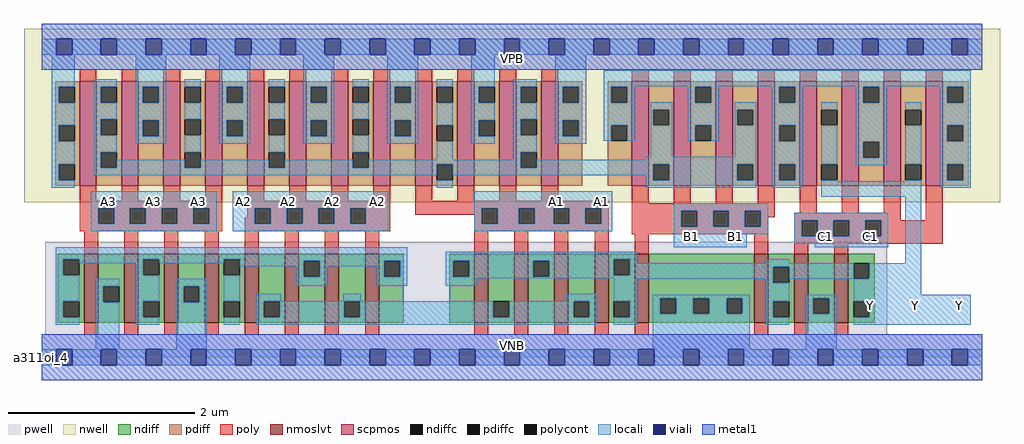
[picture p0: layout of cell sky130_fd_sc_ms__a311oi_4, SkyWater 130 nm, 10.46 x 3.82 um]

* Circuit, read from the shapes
.subckt sky130_fd_sc_ms__a311oi_4 A1 A2 A3 B1 C1 VGND VNB VPB VPWR Y
XM1 VGND A3 n1 VNB sky130_fd_pr__nfet_01v8_lvt w=0.74 l=0.15 m=4
XM2 n2 A2 n1 VNB sky130_fd_pr__nfet_01v8_lvt w=0.74 l=0.15 m=4
XM3 n2 A1 Y VNB sky130_fd_pr__nfet_01v8_lvt w=0.74 l=0.15 m=4
XM4 VGND B1 Y VNB sky130_fd_pr__nfet_01v8_lvt w=0.74 l=0.15 m=2
XM5 VGND C1 Y VNB sky130_fd_pr__nfet_01v8_lvt w=0.74 l=0.15 m=2
XM6 n3 A3 VPWR VPB sky130_fd_pr__pfet_01v8 w=1.12 l=0.18 m=4
XM7 n3 A2 VPWR VPB sky130_fd_pr__pfet_01v8 w=1.12 l=0.18 m=4
XM8 n3 A1 VPWR VPB sky130_fd_pr__pfet_01v8 w=1.12 l=0.18 m=4
XM9 n3 B1 n4 VPB sky130_fd_pr__pfet_01v8 w=1.12 l=0.18 m=4
XM10 Y C1 n4 VPB sky130_fd_pr__pfet_01v8 w=1.12 l=0.18 m=4
.ends

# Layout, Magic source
magic
tech sky130A
magscale 1 2
<< nwell >>
rect -38 332 2054 704
<< pwell >>
rect 8 49 1812 248
rect 0 0 2016 49
<< scpmos >>
rect 81 368 117 592
rect 171 368 207 592
rect 261 368 297 592
rect 351 368 387 592
rect 441 368 477 592
rect 531 368 567 592
rect 621 368 657 592
rect 711 368 747 592
rect 801 368 837 592
rect 891 368 927 592
rect 981 368 1017 592
rect 1071 368 1107 592
rect 1265 368 1301 592
rect 1355 368 1391 592
rect 1445 368 1481 592
rect 1535 368 1571 592
rect 1625 368 1661 592
rect 1715 368 1751 592
rect 1805 368 1841 592
rect 1895 368 1931 592
<< nmoslvt >>
rect 91 74 121 222
rect 177 74 207 222
rect 263 74 293 222
rect 349 74 379 222
rect 435 74 465 222
rect 521 74 551 222
rect 607 74 637 222
rect 693 74 723 222
rect 927 74 957 222
rect 1013 74 1043 222
rect 1099 74 1129 222
rect 1185 74 1215 222
rect 1271 74 1301 222
rect 1527 74 1557 222
rect 1613 74 1643 222
rect 1699 74 1729 222
<< ndiff >>
rect 34 210 91 222
rect 34 176 46 210
rect 80 176 91 210
rect 34 120 91 176
rect 34 86 46 120
rect 80 86 91 120
rect 34 74 91 86
rect 121 152 177 222
rect 121 118 132 152
rect 166 118 177 152
rect 121 74 177 118
rect 207 210 263 222
rect 207 176 218 210
rect 252 176 263 210
rect 207 120 263 176
rect 207 86 218 120
rect 252 86 263 120
rect 207 74 263 86
rect 293 152 349 222
rect 293 118 304 152
rect 338 118 349 152
rect 293 74 349 118
rect 379 210 435 222
rect 379 176 390 210
rect 424 176 435 210
rect 379 120 435 176
rect 379 86 390 120
rect 424 86 435 120
rect 379 74 435 86
rect 465 120 521 222
rect 465 86 476 120
rect 510 86 521 120
rect 465 74 521 86
rect 551 207 607 222
rect 551 173 562 207
rect 596 173 607 207
rect 551 74 607 173
rect 637 120 693 222
rect 637 86 648 120
rect 682 86 693 120
rect 637 74 693 86
rect 723 207 776 222
rect 723 173 734 207
rect 768 173 776 207
rect 723 74 776 173
rect 874 207 927 222
rect 874 173 882 207
rect 916 173 927 207
rect 874 74 927 173
rect 957 120 1013 222
rect 957 86 968 120
rect 1002 86 1013 120
rect 957 74 1013 86
rect 1043 207 1099 222
rect 1043 173 1054 207
rect 1088 173 1099 207
rect 1043 74 1099 173
rect 1129 120 1185 222
rect 1129 86 1140 120
rect 1174 86 1185 120
rect 1129 74 1185 86
rect 1215 210 1271 222
rect 1215 176 1226 210
rect 1260 176 1271 210
rect 1215 120 1271 176
rect 1215 86 1226 120
rect 1260 86 1271 120
rect 1215 74 1271 86
rect 1301 127 1527 222
rect 1301 93 1326 127
rect 1360 93 1397 127
rect 1431 93 1468 127
rect 1502 93 1527 127
rect 1301 74 1527 93
rect 1557 194 1613 222
rect 1557 160 1568 194
rect 1602 160 1613 194
rect 1557 120 1613 160
rect 1557 86 1568 120
rect 1602 86 1613 120
rect 1557 74 1613 86
rect 1643 127 1699 222
rect 1643 93 1654 127
rect 1688 93 1699 127
rect 1643 74 1699 93
rect 1729 202 1786 222
rect 1729 168 1740 202
rect 1774 168 1786 202
rect 1729 120 1786 168
rect 1729 86 1740 120
rect 1774 86 1786 120
rect 1729 74 1786 86
<< pdiff >>
rect 29 580 81 592
rect 29 546 37 580
rect 71 546 81 580
rect 29 497 81 546
rect 29 463 37 497
rect 71 463 81 497
rect 29 414 81 463
rect 29 380 37 414
rect 71 380 81 414
rect 29 368 81 380
rect 117 580 171 592
rect 117 546 127 580
rect 161 546 171 580
rect 117 510 171 546
rect 117 476 127 510
rect 161 476 171 510
rect 117 440 171 476
rect 117 406 127 440
rect 161 406 171 440
rect 117 368 171 406
rect 207 580 261 592
rect 207 546 217 580
rect 251 546 261 580
rect 207 508 261 546
rect 207 474 217 508
rect 251 474 261 508
rect 207 368 261 474
rect 297 580 351 592
rect 297 546 307 580
rect 341 546 351 580
rect 297 510 351 546
rect 297 476 307 510
rect 341 476 351 510
rect 297 440 351 476
rect 297 406 307 440
rect 341 406 351 440
rect 297 368 351 406
rect 387 580 441 592
rect 387 546 397 580
rect 431 546 441 580
rect 387 508 441 546
rect 387 474 397 508
rect 431 474 441 508
rect 387 368 441 474
rect 477 580 531 592
rect 477 546 487 580
rect 521 546 531 580
rect 477 510 531 546
rect 477 476 487 510
rect 521 476 531 510
rect 477 440 531 476
rect 477 406 487 440
rect 521 406 531 440
rect 477 368 531 406
rect 567 580 621 592
rect 567 546 577 580
rect 611 546 621 580
rect 567 508 621 546
rect 567 474 577 508
rect 611 474 621 508
rect 567 368 621 474
rect 657 580 711 592
rect 657 546 667 580
rect 701 546 711 580
rect 657 510 711 546
rect 657 476 667 510
rect 701 476 711 510
rect 657 440 711 476
rect 657 406 667 440
rect 701 406 711 440
rect 657 368 711 406
rect 747 580 801 592
rect 747 546 757 580
rect 791 546 801 580
rect 747 508 801 546
rect 747 474 757 508
rect 791 474 801 508
rect 747 368 801 474
rect 837 580 891 592
rect 837 546 847 580
rect 881 546 891 580
rect 837 497 891 546
rect 837 463 847 497
rect 881 463 891 497
rect 837 414 891 463
rect 837 380 847 414
rect 881 380 891 414
rect 837 368 891 380
rect 927 580 981 592
rect 927 546 937 580
rect 971 546 981 580
rect 927 508 981 546
rect 927 474 937 508
rect 971 474 981 508
rect 927 368 981 474
rect 1017 580 1071 592
rect 1017 546 1027 580
rect 1061 546 1071 580
rect 1017 510 1071 546
rect 1017 476 1027 510
rect 1061 476 1071 510
rect 1017 440 1071 476
rect 1017 406 1027 440
rect 1061 406 1071 440
rect 1017 368 1071 406
rect 1107 580 1159 592
rect 1107 546 1117 580
rect 1151 546 1159 580
rect 1107 508 1159 546
rect 1107 474 1117 508
rect 1151 474 1159 508
rect 1107 368 1159 474
rect 1213 580 1265 592
rect 1213 546 1221 580
rect 1255 546 1265 580
rect 1213 498 1265 546
rect 1213 464 1221 498
rect 1255 464 1265 498
rect 1213 368 1265 464
rect 1301 531 1355 592
rect 1301 497 1311 531
rect 1345 497 1355 531
rect 1301 414 1355 497
rect 1301 380 1311 414
rect 1345 380 1355 414
rect 1301 368 1355 380
rect 1391 580 1445 592
rect 1391 546 1401 580
rect 1435 546 1445 580
rect 1391 498 1445 546
rect 1391 464 1401 498
rect 1435 464 1445 498
rect 1391 368 1445 464
rect 1481 531 1535 592
rect 1481 497 1491 531
rect 1525 497 1535 531
rect 1481 414 1535 497
rect 1481 380 1491 414
rect 1525 380 1535 414
rect 1481 368 1535 380
rect 1571 580 1625 592
rect 1571 546 1581 580
rect 1615 546 1625 580
rect 1571 497 1625 546
rect 1571 463 1581 497
rect 1615 463 1625 497
rect 1571 414 1625 463
rect 1571 380 1581 414
rect 1615 380 1625 414
rect 1571 368 1625 380
rect 1661 531 1715 592
rect 1661 497 1671 531
rect 1705 497 1715 531
rect 1661 414 1715 497
rect 1661 380 1671 414
rect 1705 380 1715 414
rect 1661 368 1715 380
rect 1751 580 1805 592
rect 1751 546 1761 580
rect 1795 546 1805 580
rect 1751 462 1805 546
rect 1751 428 1761 462
rect 1795 428 1805 462
rect 1751 368 1805 428
rect 1841 531 1895 592
rect 1841 497 1851 531
rect 1885 497 1895 531
rect 1841 414 1895 497
rect 1841 380 1851 414
rect 1885 380 1895 414
rect 1841 368 1895 380
rect 1931 580 1987 592
rect 1931 546 1941 580
rect 1975 546 1987 580
rect 1931 497 1987 546
rect 1931 463 1941 497
rect 1975 463 1987 497
rect 1931 414 1987 463
rect 1931 380 1941 414
rect 1975 380 1987 414
rect 1931 368 1987 380
<< ndiffc >>
rect 46 176 80 210
rect 46 86 80 120
rect 132 118 166 152
rect 218 176 252 210
rect 218 86 252 120
rect 304 118 338 152
rect 390 176 424 210
rect 390 86 424 120
rect 476 86 510 120
rect 562 173 596 207
rect 648 86 682 120
rect 734 173 768 207
rect 882 173 916 207
rect 968 86 1002 120
rect 1054 173 1088 207
rect 1140 86 1174 120
rect 1226 176 1260 210
rect 1226 86 1260 120
rect 1326 93 1360 127
rect 1397 93 1431 127
rect 1468 93 1502 127
rect 1568 160 1602 194
rect 1568 86 1602 120
rect 1654 93 1688 127
rect 1740 168 1774 202
rect 1740 86 1774 120
<< pdiffc >>
rect 37 546 71 580
rect 37 463 71 497
rect 37 380 71 414
rect 127 546 161 580
rect 127 476 161 510
rect 127 406 161 440
rect 217 546 251 580
rect 217 474 251 508
rect 307 546 341 580
rect 307 476 341 510
rect 307 406 341 440
rect 397 546 431 580
rect 397 474 431 508
rect 487 546 521 580
rect 487 476 521 510
rect 487 406 521 440
rect 577 546 611 580
rect 577 474 611 508
rect 667 546 701 580
rect 667 476 701 510
rect 667 406 701 440
rect 757 546 791 580
rect 757 474 791 508
rect 847 546 881 580
rect 847 463 881 497
rect 847 380 881 414
rect 937 546 971 580
rect 937 474 971 508
rect 1027 546 1061 580
rect 1027 476 1061 510
rect 1027 406 1061 440
rect 1117 546 1151 580
rect 1117 474 1151 508
rect 1221 546 1255 580
rect 1221 464 1255 498
rect 1311 497 1345 531
rect 1311 380 1345 414
rect 1401 546 1435 580
rect 1401 464 1435 498
rect 1491 497 1525 531
rect 1491 380 1525 414
rect 1581 546 1615 580
rect 1581 463 1615 497
rect 1581 380 1615 414
rect 1671 497 1705 531
rect 1671 380 1705 414
rect 1761 546 1795 580
rect 1761 428 1795 462
rect 1851 497 1885 531
rect 1851 380 1885 414
rect 1941 546 1975 580
rect 1941 463 1975 497
rect 1941 380 1975 414
<< poly >>
rect 81 592 117 618
rect 171 592 207 618
rect 261 592 297 618
rect 351 592 387 618
rect 441 592 477 618
rect 531 592 567 618
rect 621 592 657 618
rect 711 592 747 618
rect 801 592 837 618
rect 891 592 927 618
rect 981 592 1017 618
rect 1071 592 1107 618
rect 1265 592 1301 618
rect 1355 592 1391 618
rect 1445 592 1481 618
rect 1535 592 1571 618
rect 1625 592 1661 618
rect 1715 592 1751 618
rect 1805 592 1841 618
rect 1895 592 1931 618
rect 81 336 117 368
rect 171 336 207 368
rect 261 336 297 368
rect 351 336 387 368
rect 81 320 387 336
rect 81 286 121 320
rect 155 286 189 320
rect 223 286 257 320
rect 291 286 325 320
rect 359 286 387 320
rect 441 336 477 368
rect 531 336 567 368
rect 621 336 657 368
rect 711 336 747 368
rect 441 320 747 336
rect 441 300 457 320
rect 81 270 387 286
rect 435 286 457 300
rect 491 286 525 320
rect 559 286 593 320
rect 627 286 661 320
rect 695 286 747 320
rect 801 336 837 368
rect 891 336 927 368
rect 981 336 1017 368
rect 1071 336 1107 368
rect 801 320 1215 336
rect 801 306 943 320
rect 435 270 747 286
rect 927 286 943 306
rect 977 286 1023 320
rect 1057 286 1097 320
rect 1131 286 1165 320
rect 1199 286 1215 320
rect 927 270 1215 286
rect 91 222 121 270
rect 177 222 207 270
rect 263 222 293 270
rect 349 222 379 270
rect 435 222 465 270
rect 521 222 551 270
rect 607 222 637 270
rect 693 222 723 270
rect 927 222 957 270
rect 1013 222 1043 270
rect 1099 222 1129 270
rect 1185 222 1215 270
rect 1265 330 1301 368
rect 1355 330 1391 368
rect 1445 330 1481 368
rect 1535 330 1571 368
rect 1265 314 1571 330
rect 1265 280 1371 314
rect 1405 280 1439 314
rect 1473 280 1507 314
rect 1541 300 1571 314
rect 1625 310 1661 368
rect 1715 310 1751 368
rect 1805 310 1841 368
rect 1541 280 1557 300
rect 1265 264 1557 280
rect 1271 222 1301 264
rect 1527 222 1557 264
rect 1613 294 1841 310
rect 1895 294 1931 368
rect 1613 260 1629 294
rect 1663 260 1697 294
rect 1731 260 1765 294
rect 1799 260 1931 294
rect 1613 244 1931 260
rect 1613 222 1643 244
rect 1699 222 1729 244
rect 91 48 121 74
rect 177 48 207 74
rect 263 48 293 74
rect 349 48 379 74
rect 435 48 465 74
rect 521 48 551 74
rect 607 48 637 74
rect 693 48 723 74
rect 927 48 957 74
rect 1013 48 1043 74
rect 1099 48 1129 74
rect 1185 48 1215 74
rect 1271 48 1301 74
rect 1527 48 1557 74
rect 1613 48 1643 74
rect 1699 48 1729 74
<< polycont >>
rect 121 286 155 320
rect 189 286 223 320
rect 257 286 291 320
rect 325 286 359 320
rect 457 286 491 320
rect 525 286 559 320
rect 593 286 627 320
rect 661 286 695 320
rect 943 286 977 320
rect 1023 286 1057 320
rect 1097 286 1131 320
rect 1165 286 1199 320
rect 1371 280 1405 314
rect 1439 280 1473 314
rect 1507 280 1541 314
rect 1629 260 1663 294
rect 1697 260 1731 294
rect 1765 260 1799 294
<< locali >>
rect 0 649 31 683
rect 65 649 127 683
rect 161 649 223 683
rect 257 649 319 683
rect 353 649 415 683
rect 449 649 511 683
rect 545 649 607 683
rect 641 649 703 683
rect 737 649 799 683
rect 833 649 895 683
rect 929 649 991 683
rect 1025 649 1087 683
rect 1121 649 1183 683
rect 1217 649 1279 683
rect 1313 649 1375 683
rect 1409 649 1471 683
rect 1505 649 1567 683
rect 1601 649 1663 683
rect 1697 649 1759 683
rect 1793 649 1855 683
rect 1889 649 1951 683
rect 1985 649 2016 683
rect 21 580 71 649
rect 21 546 37 580
rect 21 497 71 546
rect 21 463 37 497
rect 21 414 71 463
rect 21 380 37 414
rect 111 580 161 596
rect 111 546 127 580
rect 111 510 161 546
rect 111 476 127 510
rect 111 440 161 476
rect 201 580 267 649
rect 201 546 217 580
rect 251 546 267 580
rect 201 508 267 546
rect 201 474 217 508
rect 251 474 267 508
rect 201 458 267 474
rect 307 580 341 596
rect 307 510 341 546
rect 111 406 127 440
rect 307 440 341 476
rect 381 580 447 649
rect 381 546 397 580
rect 431 546 447 580
rect 381 508 447 546
rect 381 474 397 508
rect 431 474 447 508
rect 381 458 447 474
rect 487 580 521 596
rect 487 510 521 546
rect 161 406 307 424
rect 487 440 521 476
rect 561 580 627 649
rect 561 546 577 580
rect 611 546 627 580
rect 561 508 627 546
rect 561 474 577 508
rect 611 474 627 508
rect 561 458 627 474
rect 667 580 701 596
rect 667 510 701 546
rect 341 406 487 424
rect 667 440 701 476
rect 741 580 807 649
rect 741 546 757 580
rect 791 546 807 580
rect 741 508 807 546
rect 741 474 757 508
rect 791 474 807 508
rect 741 458 807 474
rect 847 580 881 596
rect 847 497 881 546
rect 521 406 667 424
rect 847 424 881 463
rect 921 580 971 649
rect 921 546 937 580
rect 921 508 971 546
rect 921 474 937 508
rect 921 458 971 474
rect 1011 580 1061 596
rect 1011 546 1027 580
rect 1011 510 1061 546
rect 1011 476 1027 510
rect 1011 440 1061 476
rect 1101 580 1167 649
rect 1101 546 1117 580
rect 1151 546 1167 580
rect 1101 508 1167 546
rect 1101 474 1117 508
rect 1151 474 1167 508
rect 1101 458 1167 474
rect 1205 581 1991 615
rect 1205 580 1271 581
rect 1205 546 1221 580
rect 1255 546 1271 580
rect 1385 580 1451 581
rect 1205 498 1271 546
rect 1205 464 1221 498
rect 1255 464 1271 498
rect 1305 531 1351 547
rect 1305 497 1311 531
rect 1345 497 1351 531
rect 1011 424 1027 440
rect 701 414 1027 424
rect 701 406 847 414
rect 111 390 847 406
rect 21 364 71 380
rect 881 406 1027 414
rect 1305 430 1351 497
rect 1385 546 1401 580
rect 1435 546 1451 580
rect 1565 580 1631 581
rect 1385 498 1451 546
rect 1385 464 1401 498
rect 1435 464 1451 498
rect 1485 531 1531 547
rect 1485 497 1491 531
rect 1525 497 1531 531
rect 1485 430 1531 497
rect 1295 424 1531 430
rect 1061 414 1531 424
rect 1061 406 1311 414
rect 881 390 1311 406
rect 847 364 881 380
rect 1295 380 1311 390
rect 1345 380 1491 414
rect 1525 380 1531 414
rect 1295 364 1531 380
rect 1565 546 1581 580
rect 1615 546 1631 580
rect 1745 580 1811 581
rect 1565 497 1631 546
rect 1565 463 1581 497
rect 1615 463 1631 497
rect 1565 414 1631 463
rect 1565 380 1581 414
rect 1615 380 1631 414
rect 1565 364 1631 380
rect 1671 531 1705 547
rect 1671 414 1705 497
rect 1745 546 1761 580
rect 1795 546 1811 580
rect 1925 580 1991 581
rect 1745 462 1811 546
rect 1745 428 1761 462
rect 1795 428 1811 462
rect 1745 412 1811 428
rect 1851 531 1885 547
rect 1851 414 1885 497
rect 1671 378 1705 380
rect 1851 378 1885 380
rect 105 320 375 356
rect 105 286 121 320
rect 155 286 189 320
rect 223 286 257 320
rect 291 286 325 320
rect 359 286 375 320
rect 105 270 375 286
rect 409 320 743 356
rect 409 286 457 320
rect 491 286 525 320
rect 559 286 593 320
rect 627 286 661 320
rect 695 286 743 320
rect 409 270 743 286
rect 927 320 1223 356
rect 1671 344 1885 378
rect 1925 546 1941 580
rect 1975 546 1991 580
rect 1925 497 1991 546
rect 1925 463 1941 497
rect 1975 463 1991 497
rect 1925 414 1991 463
rect 1925 380 1941 414
rect 1975 380 1991 414
rect 1925 364 1991 380
rect 927 286 943 320
rect 977 286 1023 320
rect 1057 286 1097 320
rect 1131 286 1165 320
rect 1199 286 1223 320
rect 927 270 1223 286
rect 1355 314 1557 330
rect 1355 280 1371 314
rect 1405 280 1439 314
rect 1473 280 1507 314
rect 1541 280 1557 314
rect 1355 264 1557 280
rect 1613 294 1815 310
rect 1355 236 1511 264
rect 1613 260 1629 294
rect 1663 260 1697 294
rect 1731 260 1765 294
rect 1799 260 1815 294
rect 1613 244 1815 260
rect 1657 236 1815 244
rect 30 210 784 236
rect 30 176 46 210
rect 80 202 218 210
rect 30 120 80 176
rect 202 176 218 202
rect 252 202 390 210
rect 30 86 46 120
rect 30 70 80 86
rect 116 152 166 168
rect 116 118 132 152
rect 116 17 166 118
rect 202 120 252 176
rect 424 207 784 210
rect 424 195 562 207
rect 202 86 218 120
rect 202 70 252 86
rect 288 152 354 168
rect 288 118 304 152
rect 338 118 354 152
rect 288 17 354 118
rect 390 120 424 176
rect 546 173 562 195
rect 596 195 734 207
rect 596 173 612 195
rect 546 154 612 173
rect 718 173 734 195
rect 768 173 784 207
rect 718 154 784 173
rect 866 210 1276 226
rect 866 207 1226 210
rect 866 173 882 207
rect 916 173 1054 207
rect 1088 176 1226 207
rect 1260 202 1276 210
rect 1552 202 1602 210
rect 1851 202 1885 344
rect 1260 194 1740 202
rect 1260 176 1568 194
rect 1088 173 1568 176
rect 866 170 1568 173
rect 866 154 932 170
rect 1226 168 1568 170
rect 390 70 424 86
rect 460 120 512 136
rect 646 120 684 136
rect 1124 120 1190 136
rect 460 86 476 120
rect 510 86 648 120
rect 682 86 968 120
rect 1002 86 1140 120
rect 1174 86 1190 120
rect 460 70 1190 86
rect 1226 120 1276 168
rect 1552 160 1568 168
rect 1602 168 1740 194
rect 1774 168 1885 202
rect 1260 86 1276 120
rect 1226 70 1276 86
rect 1310 127 1518 134
rect 1310 93 1326 127
rect 1360 93 1397 127
rect 1431 93 1468 127
rect 1502 93 1518 127
rect 1310 17 1518 93
rect 1552 120 1602 160
rect 1740 134 1885 168
rect 1552 86 1568 120
rect 1552 70 1602 86
rect 1638 127 1704 134
rect 1638 93 1654 127
rect 1688 93 1704 127
rect 1638 17 1704 93
rect 1740 120 1991 134
rect 1774 86 1991 120
rect 1740 70 1991 86
rect 0 -17 31 17
rect 65 -17 127 17
rect 161 -17 223 17
rect 257 -17 319 17
rect 353 -17 415 17
rect 449 -17 511 17
rect 545 -17 607 17
rect 641 -17 703 17
rect 737 -17 799 17
rect 833 -17 895 17
rect 929 -17 991 17
rect 1025 -17 1087 17
rect 1121 -17 1183 17
rect 1217 -17 1279 17
rect 1313 -17 1375 17
rect 1409 -17 1471 17
rect 1505 -17 1567 17
rect 1601 -17 1663 17
rect 1697 -17 1759 17
rect 1793 -17 1855 17
rect 1889 -17 1951 17
rect 1985 -17 2016 17
<< viali >>
rect 31 649 65 683
rect 127 649 161 683
rect 223 649 257 683
rect 319 649 353 683
rect 415 649 449 683
rect 511 649 545 683
rect 607 649 641 683
rect 703 649 737 683
rect 799 649 833 683
rect 895 649 929 683
rect 991 649 1025 683
rect 1087 649 1121 683
rect 1183 649 1217 683
rect 1279 649 1313 683
rect 1375 649 1409 683
rect 1471 649 1505 683
rect 1567 649 1601 683
rect 1663 649 1697 683
rect 1759 649 1793 683
rect 1855 649 1889 683
rect 1951 649 1985 683
rect 31 -17 65 17
rect 127 -17 161 17
rect 223 -17 257 17
rect 319 -17 353 17
rect 415 -17 449 17
rect 511 -17 545 17
rect 607 -17 641 17
rect 703 -17 737 17
rect 799 -17 833 17
rect 895 -17 929 17
rect 991 -17 1025 17
rect 1087 -17 1121 17
rect 1183 -17 1217 17
rect 1279 -17 1313 17
rect 1375 -17 1409 17
rect 1471 -17 1505 17
rect 1567 -17 1601 17
rect 1663 -17 1697 17
rect 1759 -17 1793 17
rect 1855 -17 1889 17
rect 1951 -17 1985 17
<< metal1 >>
rect 0 683 2016 715
rect 0 649 31 683
rect 65 649 127 683
rect 161 649 223 683
rect 257 649 319 683
rect 353 649 415 683
rect 449 649 511 683
rect 545 649 607 683
rect 641 649 703 683
rect 737 649 799 683
rect 833 649 895 683
rect 929 649 991 683
rect 1025 649 1087 683
rect 1121 649 1183 683
rect 1217 649 1279 683
rect 1313 649 1375 683
rect 1409 649 1471 683
rect 1505 649 1567 683
rect 1601 649 1663 683
rect 1697 649 1759 683
rect 1793 649 1855 683
rect 1889 649 1951 683
rect 1985 649 2016 683
rect 0 617 2016 649
rect 0 17 2016 49
rect 0 -17 31 17
rect 65 -17 127 17
rect 161 -17 223 17
rect 257 -17 319 17
rect 353 -17 415 17
rect 449 -17 511 17
rect 545 -17 607 17
rect 641 -17 703 17
rect 737 -17 799 17
rect 833 -17 895 17
rect 929 -17 991 17
rect 1025 -17 1087 17
rect 1121 -17 1183 17
rect 1217 -17 1279 17
rect 1313 -17 1375 17
rect 1409 -17 1471 17
rect 1505 -17 1567 17
rect 1601 -17 1663 17
rect 1697 -17 1759 17
rect 1793 -17 1855 17
rect 1889 -17 1951 17
rect 1985 -17 2016 17
rect 0 -49 2016 -17
<< labels >>
flabel pwell s 0 0 2016 49 0 FreeSans 200 0 0 0 VNB
port 7 nsew ground bidirectional
flabel nwell s 0 617 2016 666 0 FreeSans 200 0 0 0 VPB
port 8 nsew power bidirectional
rlabel comment s 0 0 0 0 4 a311oi_4
flabel metal1 s 0 617 2016 666 0 FreeSans 340 0 0 0 VPWR
port 9 nsew power bidirectional
flabel metal1 s 0 0 2016 49 0 FreeSans 340 0 0 0 VGND
port 6 nsew ground bidirectional
flabel locali s 1759 94 1793 128 0 FreeSans 340 0 0 0 Y
port 10 nsew signal output
flabel locali s 1855 94 1889 128 0 FreeSans 340 0 0 0 Y
port 10 nsew signal output
flabel locali s 1951 94 1985 128 0 FreeSans 340 0 0 0 Y
port 10 nsew signal output
flabel locali s 1663 242 1697 276 0 FreeSans 340 0 0 0 C1
port 5 nsew signal input
flabel locali s 1759 242 1793 276 0 FreeSans 340 0 0 0 C1
port 5 nsew signal input
flabel locali s 1375 242 1409 276 0 FreeSans 340 0 0 0 B1
port 4 nsew signal input
flabel locali s 1471 242 1505 276 0 FreeSans 340 0 0 0 B1
port 4 nsew signal input
flabel locali s 127 316 161 350 0 FreeSans 340 0 0 0 A3
port 3 nsew signal input
flabel locali s 223 316 257 350 0 FreeSans 340 0 0 0 A3
port 3 nsew signal input
flabel locali s 319 316 353 350 0 FreeSans 340 0 0 0 A3
port 3 nsew signal input
flabel locali s 415 316 449 350 0 FreeSans 340 0 0 0 A2
port 2 nsew signal input
flabel locali s 511 316 545 350 0 FreeSans 340 0 0 0 A2
port 2 nsew signal input
flabel locali s 607 316 641 350 0 FreeSans 340 0 0 0 A2
port 2 nsew signal input
flabel locali s 703 316 737 350 0 FreeSans 340 0 0 0 A2
port 2 nsew signal input
flabel locali s 1087 316 1121 350 0 FreeSans 340 0 0 0 A1
port 1 nsew signal input
flabel locali s 1183 316 1217 350 0 FreeSans 340 0 0 0 A1
port 1 nsew signal input
<< properties >>
string LEFsite unit
string LEFclass CORE
string FIXED_BBOX 0 0 2016 666
string GDS_FILE $PDKPATH/libs.ref/sky130_fd_sc_ms/gds/sky130_fd_sc_ms.gds
string LEFsymmetry X Y
string GDS_END 2124910
string GDS_START 2109152
<< end >>
